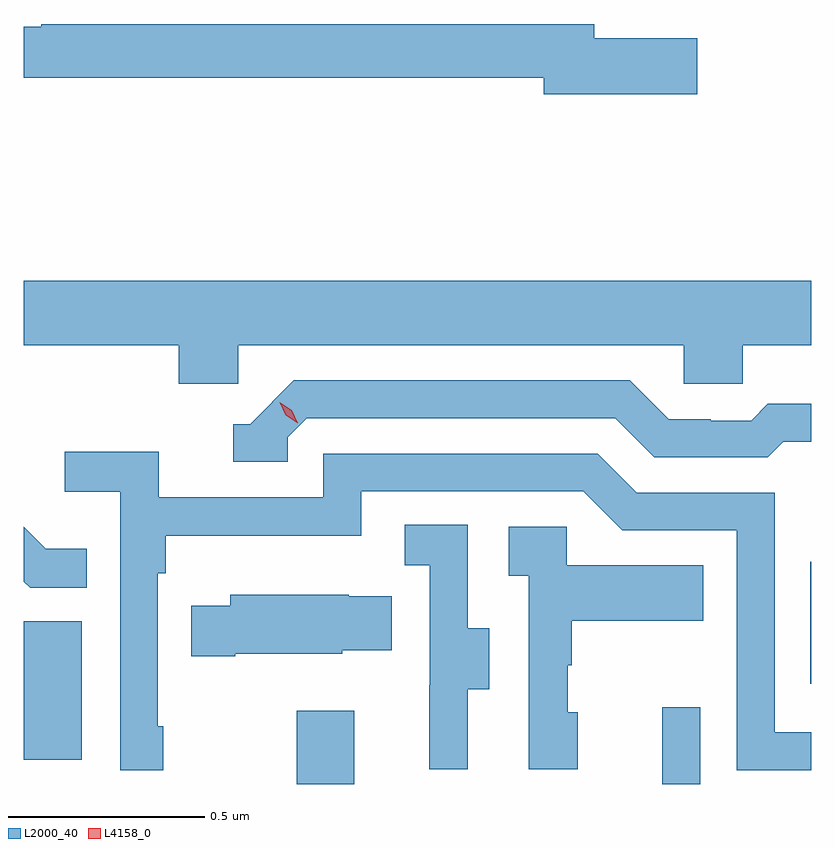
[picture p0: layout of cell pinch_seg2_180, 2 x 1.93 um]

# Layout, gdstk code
import gdstk
lib = gdstk.Library(unit=1e-6, precision=1e-09)
def R(c, l, rs):  # rectangles x0, y0, x1, y1
    for r in rs: c.add(gdstk.rectangle(r[:2], r[2:], *l))
def P(c, l, *ps):  # polygons
    for p in ps: c.add(gdstk.Polygon(p, *l))
L2000_40 = (2000, 40)
L4158_0 = (4158, 0)

pinch_seg2_180 = lib.new_cell('pinch_seg2_180')
R(pinch_seg2_180, L2000_40, [(1143.07,633.202,1143.217,633.388), (1143.998,633.202,1144.095,633.397), (1142.377,633.264,1142.524,633.615), (1144.374,633.456,1144.377,633.766)])
P(pinch_seg2_180, L2000_40, [(1144.087,635.096),(1143.826,635.096),(1143.826,635.132),(1142.422,635.132),(1142.422,635.125),(1142.377,635.125),(1142.377,634.996),(1143.698,634.996),(1143.698,634.954),(1144.087,634.954)],
  [(1142.922,634.316),(1144.053,634.316),(1144.053,634.218),(1144.203,634.218),(1144.203,634.316),(1144.377,634.316),(1144.377,634.48),(1142.377,634.48),(1142.377,634.316),(1142.771,634.316),(1142.771,634.218),(1142.922,634.218)],
  [(1143.048,634.083),(1143.096,634.131),(1143.879,634.131),(1143.978,634.032),(1144.267,634.032),(1144.306,634.071),(1144.377,634.071),(1144.377,634.168),(1144.267,634.168),(1144.225,634.125),(1144.122,634.125),(1144.122,634.128),(1144.015,634.128),(1143.916,634.227),(1143.063,634.227),(1142.952,634.116),(1142.909,634.116),(1142.909,634.02),(1143.048,634.02)],
  [(1142.731,633.349),(1142.718,633.349),(1142.718,633.737),(1142.738,633.737),(1142.738,633.833),(1143.234,633.833),(1143.234,633.945),(1143.798,633.945),(1143.897,633.846),(1144.188,633.846),(1144.188,633.237),(1144.377,633.237),(1144.377,633.333),(1144.284,633.333),(1144.284,633.942),(1143.934,633.942),(1143.835,634.041),(1143.138,634.041),(1143.138,633.93),(1142.72,633.93),(1142.72,634.046),(1142.481,634.046),(1142.481,633.944),(1142.622,633.944),(1142.622,633.237),(1142.731,633.237)],
  [(1143.505,633.442),(1143.559,633.442),(1143.559,633.597),(1143.504,633.597),(1143.504,633.86),(1143.345,633.86),(1143.345,633.757),(1143.408,633.757),(1143.408,633.453),(1143.407,633.453),(1143.407,633.24),(1143.505,633.24)],
  [(1143.784,633.384),(1143.759,633.384),(1143.759,633.503),(1143.769,633.503),(1143.769,633.617),(1144.103,633.617),(1144.103,633.757),(1143.756,633.757),(1143.756,633.855),(1143.609,633.855),(1143.609,633.731),(1143.66,633.731),(1143.66,633.24),(1143.784,633.24)],
  [(1142.537,633.799),(1142.433,633.799),(1142.377,633.855),(1142.377,633.716),(1142.393,633.7),(1142.537,633.7)],
  [(1142.914,633.533),(1143.186,633.533),(1143.186,633.542),(1143.311,633.542),(1143.311,633.679),(1143.203,633.679),(1143.203,633.682),(1142.901,633.682),(1142.901,633.655),(1142.803,633.655),(1142.803,633.526),(1142.914,633.526)])
P(pinch_seg2_180, L4158_0, [(1143.073,634.118),(1143.042,634.138),(1143.027,634.171),(1143.027,634.171),(1143.027,634.171),(1143.058,634.151),(1143.073,634.118),(1143.073,634.118)])

lib.write_gds('pinch_seg2_180.gds')
